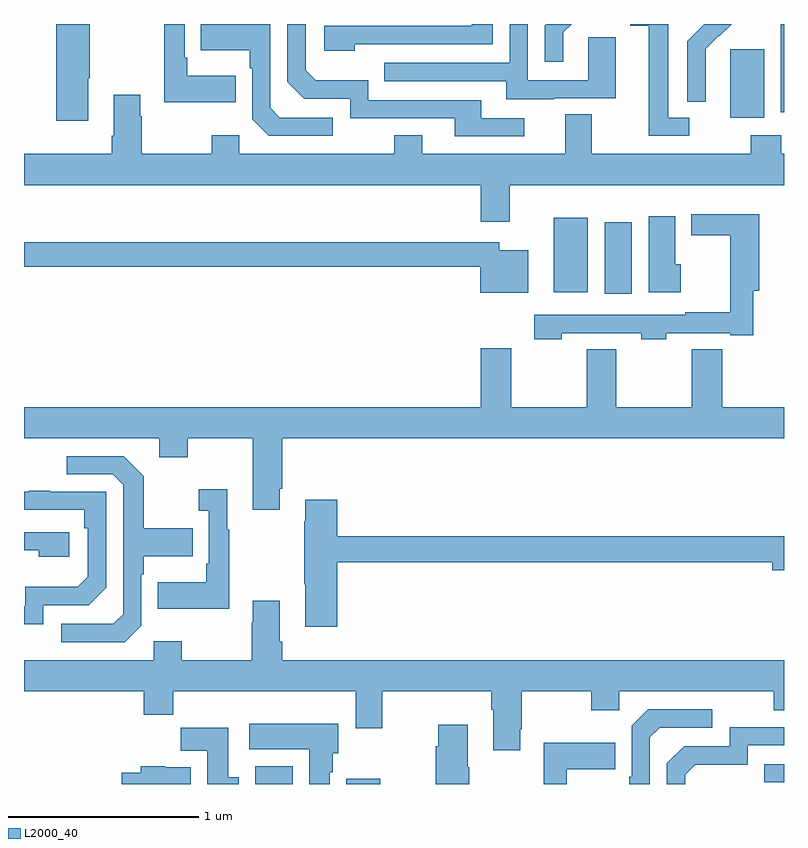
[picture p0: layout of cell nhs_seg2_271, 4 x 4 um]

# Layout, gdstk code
import gdstk
lib = gdstk.Library(unit=1e-6, precision=1e-09)
def R(c, l, rs):  # rectangles x0, y0, x1, y1
    for r in rs: c.add(gdstk.rectangle(r[:2], r[2:], *l))
def P(c, l, *ps):  # polygons
    for p in ps: c.add(gdstk.Polygon(p, *l))
L2000_40 = (2000, 40)

nhs_seg2_271 = lib.new_cell('nhs_seg2_271')
R(nhs_seg2_271, L2000_40, [(124.217,661.8,124.414,661.894), (124.697,661.8,124.876,661.828), (126.895,661.809,127,661.905), (126.056,664.38,126.199,664.756), (125.789,664.388,125.968,664.78), (126.716,665.306,126.895,665.667)])
P(nhs_seg2_271, L2000_40, [(126.588,665.546),(126.587,665.546),(126.587,665.669),(126.657,665.739),(126.66,665.736),(126.724,665.8),(126.58,665.8),(126.564,665.784),(126.565,665.783),(126.492,665.71),(126.492,665.392),(126.588,665.392)],
  [(124.742,665.694),(125.466,665.694),(125.466,665.8),(125.357,665.8),(125.357,665.79),(124.581,665.79),(124.581,665.66),(124.742,665.66)],
  [(127,665.8),(126.982,665.8),(126.982,665.764),(126.984,665.764),(126.984,665.335),(127,665.335)],
  [(124.624,665.307),(124.347,665.307),(124.296,665.358),(124.296,665.8),(123.931,665.8),(123.931,665.663),(124.188,665.663),(124.188,665.567),(124.2,665.567),(124.2,665.298),(124.287,665.211),(124.624,665.211)],
  [(125.632,665.304),(125.407,665.304),(125.407,665.4),(124.812,665.4),(124.812,665.503),(124.535,665.503),(124.482,665.556),(124.482,665.8),(124.386,665.8),(124.386,665.496),(124.476,665.406),(124.716,665.406),(124.716,665.304),(125.267,665.304),(125.267,665.208),(125.632,665.208)],
  [(125.839,665.757),(125.882,665.8),(125.748,665.8),(125.742,665.794),(125.742,665.601),(125.839,665.601)],
  [(124.115,665.527),(123.859,665.527),(123.859,665.623),(123.846,665.623),(123.846,665.8),(123.738,665.8),(123.738,665.387),(124.115,665.387)],
  [(126.502,665.307),(126.391,665.307),(126.391,665.8),(126.191,665.8),(126.191,665.792),(126.287,665.792),(126.287,665.211),(126.502,665.211)],
  [(123.337,665.515),(123.345,665.515),(123.345,665.8),(123.17,665.8),(123.17,665.292),(123.337,665.292)],
  [(125.791,665.409),(126.115,665.409),(126.115,665.729),(125.97,665.729),(125.97,665.505),(125.652,665.505),(125.652,665.8),(125.556,665.8),(125.556,665.595),(124.897,665.595),(124.897,665.499),(125.537,665.499),(125.537,665.405),(125.791,665.405)],
  [(125.557,664.952),(127,664.952),(127,665.116),(126.986,665.116),(126.986,665.215),(126.826,665.215),(126.826,665.116),(125.989,665.116),(125.989,665.324),(125.849,665.324),(125.849,665.116),(125.095,665.116),(125.095,665.215),(124.948,665.215),(124.948,665.116),(124.134,665.116),(124.134,665.215),(123.988,665.215),(123.988,665.116),(123.621,665.116),(123.621,665.315),(123.613,665.315),(123.613,665.428),(123.473,665.428),(123.473,665.212),(123.461,665.212),(123.461,665.116),(123,665.116),(123,664.952),(125.405,664.952),(125.405,664.758),(125.557,664.758)],
  [(125.829,664.173),(126.249,664.173),(126.249,664.141),(126.381,664.141),(126.381,664.173),(126.716,664.173),(126.716,664.161),(126.839,664.161),(126.839,664.397),(126.869,664.397),(126.869,664.798),(126.513,664.798),(126.513,664.689),(126.716,664.689),(126.716,664.533),(126.718,664.533),(126.718,664.282),(126.481,664.282),(126.481,664.269),(125.685,664.269),(125.685,664.141),(125.829,664.141)],
  [(126.457,664.536),(126.427,664.536),(126.427,664.789),(126.287,664.789),(126.287,664.388),(126.457,664.388)],
  [(125.653,664.609),(125.5,664.609),(125.5,664.651),(123,664.651),(123,664.522),(125.402,664.522),(125.402,664.385),(125.653,664.385)],
  [(124.345,663.355),(124.358,663.355),(124.358,663.62),(127,663.62),(127,663.784),(126.674,663.784),(126.674,664.088),(126.514,664.088),(126.514,663.784),(126.116,663.784),(126.116,664.088),(125.962,664.088),(125.962,663.784),(125.565,663.784),(125.565,664.093),(125.405,664.093),(125.405,663.784),(123,663.784),(123,663.62),(123.713,663.62),(123.713,663.521),(123.861,663.521),(123.861,663.62),(124.205,663.62),(124.205,663.243),(124.345,663.243)],
  [(123.618,662.634),(123.618,662.903),(123.631,662.903),(123.631,662.999),(123.887,662.999),(123.887,663.147),(123.631,663.147),(123.631,663.419),(123.525,663.525),(123.225,663.525),(123.225,663.429),(123.468,663.429),(123.522,663.375),(123.522,662.694),(123.471,662.643),(123.195,662.643),(123.195,662.547),(123.531,662.547)],
  [(124.081,663.139),(124.069,663.139),(124.069,663.352),(123.921,663.352),(123.921,663.239),(123.972,663.239),(123.972,662.959),(123.96,662.959),(123.96,662.863),(123.703,662.863),(123.703,662.723),(124.081,662.723)],
  [(123.102,662.742),(123.342,662.742),(123.432,662.832),(123.432,663.339),(123.137,663.339),(123.137,663.344),(123.025,663.344),(123.025,663.339),(123,663.339),(123,663.243),(123.316,663.243),(123.316,663.146),(123.336,663.146),(123.336,662.892),(123.283,662.839),(123.006,662.839),(123.006,662.736),(123,662.736),(123,662.64),(123.102,662.64)],
  [(124.649,662.968),(126.938,662.968),(126.938,662.926),(127,662.926),(127,663.104),(124.649,663.104),(124.649,663.295),(124.481,663.295),(124.481,663.182),(124.474,663.182),(124.474,662.851),(124.481,662.851),(124.481,662.628),(124.649,662.628)],
  [(123.238,663.126),(123,663.126),(123,663.03),(123.077,663.03),(123.077,662.996),(123.238,662.996)],
  [(125.611,662.089),(125.619,662.089),(125.619,662.288),(125.986,662.288),(125.986,662.189),(126.132,662.189),(126.132,662.288),(126.946,662.288),(126.946,662.189),(127,662.189),(127,662.452),(124.358,662.452),(124.358,662.548),(124.345,662.548),(124.345,662.764),(124.205,662.764),(124.205,662.651),(124.198,662.651),(124.198,662.452),(123.831,662.452),(123.831,662.551),(123.684,662.551),(123.684,662.452),(123,662.452),(123,662.288),(123.629,662.288),(123.629,662.164),(123.785,662.164),(123.785,662.288),(124.745,662.288),(124.745,662.094),(124.885,662.094),(124.885,662.288),(125.459,662.288),(125.459,662.192),(125.471,662.192),(125.471,661.977),(125.611,661.977)],
  [(126.294,662.046),(126.345,662.097),(126.622,662.097),(126.622,662.193),(126.285,662.193),(126.198,662.106),(126.198,661.837),(126.186,661.837),(126.186,661.8),(126.294,661.8)],
  [(124.609,661.862),(124.624,661.862),(124.624,661.962),(124.654,661.962),(124.654,662.116),(124.185,662.116),(124.185,661.982),(124.502,661.982),(124.502,661.8),(124.609,661.8)],
  [(125.343,661.889),(125.335,661.889),(125.335,662.113),(125.18,662.113),(125.18,662),(125.168,662),(125.168,661.8),(125.343,661.8)],
  [(126.48,661.848),(126.533,661.901),(126.81,661.901),(126.81,662.004),(127,662.004),(127,662.1),(126.714,662.1),(126.714,661.998),(126.474,661.998),(126.384,661.908),(126.384,661.8),(126.48,661.8)],
  [(124.129,661.836),(124.075,661.836),(124.075,662.095),(123.826,662.095),(123.826,661.976),(123.965,661.976),(123.965,661.8),(124.129,661.8)],
  [(125.857,661.877),(126.113,661.877),(126.113,662.017),(125.736,662.017),(125.736,661.8),(125.857,661.8)],
  [(123.877,661.888),(123.744,661.888),(123.744,661.894),(123.614,661.894),(123.614,661.858),(123.515,661.858),(123.515,661.8),(123.877,661.8)])

lib.write_gds('nhs_seg2_271.gds')
